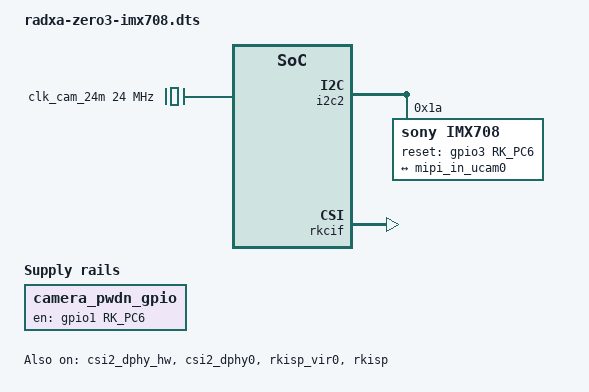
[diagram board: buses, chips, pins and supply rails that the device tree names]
/*
 * This file is licensed under the terms of GPLv3.
 * Made by Arducam and OpenHD
 */

/dts-v1/;
/plugin/;

#include <dt-bindings/power/rk3568-power.h>
#include <dt-bindings/gpio/gpio.h>
#include <dt-bindings/pinctrl/rockchip.h>

/ {
	metadata {
		title = "Enable Arducam IMX708 on Zero3W";
		compatible = "radxa,zero3";
		category = "camera";
		exclusive = "csi2_dphy0";
		description = "Enable  Arducam Camera IMX708 on CAM0.";
	};


	fragment@0 {
		target-path = "/";

		__overlay__ {
			camera_pwdn_gpio: camera-pwdn-gpio {
				compatible = "regulator-fixed";
				regulator-name = "camera_pwdn_gpio";
				regulator-always-on;
				regulator-boot-on;
				enable-active-high;
				gpio = <&gpio1 RK_PC6 GPIO_ACTIVE_HIGH>;
				pinctrl-names = "default";
				pinctrl-0 = <&cam_pwdn_gpio>;
			};
			
			clk_cam_24m: external-camera-clock-24m {
				status = "okay";
				compatible = "fixed-clock";
				clock-frequency = <24000000>;
				clock-output-names = "clk_cam_24m";
				#clock-cells = <0>;
			};


		};
	};

	fragment@1 {
		target = <&i2c2>;

		__overlay__ {
			status = "okay";
			pinctrl-names = "default";
			pinctrl-0 = <&i2c2m1_xfer>;

			#address-cells = <1>;
			#size-cells = <0>;

			imx708: imx708@1a {
				status = "okay";
				compatible = "sony,imx708";
				reg = <0x1a>;

				clocks = <&clk_cam_24m>;
				clock-names = "xclk";
				reset-gpios = <&gpio3 RK_PC6 GPIO_ACTIVE_HIGH>;
				rockchip,camera-module-index = <0>;
				rockchip,camera-module-facing = "back";
				rockchip,camera-module-name = "arducam-imx708";
				rockchip,camera-module-lens-name = "default";

				port {
					imx708_out0: endpoint {
						remote-endpoint = <&mipi_in_ucam0>;
						data-lanes = <1 2>;
						link-frequencies = /bits/ 64 <450000000>;
					};
				};
			};
		};
	};

	fragment@2 {
		target = <&csi2_dphy_hw>;

		__overlay__ {
			status = "okay";
		};
	};

	fragment@3 {
		target = <&csi2_dphy0>;

		__overlay__ {
			status = "okay";

			ports {
				#address-cells = <1>;
				#size-cells = <0>;

				port@0 {
					reg = <0>;
					#address-cells = <1>;
					#size-cells = <0>;

					mipi_in_ucam0: endpoint@1 {
						reg = <1>;
						remote-endpoint = <&imx708_out0>;
						data-lanes = <1 2>;
					};
				};

				port@1 {
					reg = <1>;
					#address-cells = <1>;
					#size-cells = <0>;

					dphy0_out: endpoint@1 {
						reg = <1>;
						remote-endpoint = <&isp0_in>;
					};
				};
			};
		};
	};

	fragment@4 {
		target = <&rkisp_vir0>;

		__overlay__ {
			status = "okay";

			port {
				#address-cells = <1>;
				#size-cells = <0>;

				isp0_in: endpoint@0 {
					reg = <0>;
					remote-endpoint = <&dphy0_out>;
				};
			};
		};
	};

	fragment@5 {
		target = <&rkisp>;

		__overlay__ {
			status = "okay";
		};
	};

	fragment@6 {
		target = <&rkisp_mmu>;

		__overlay__ {
			status = "okay";
		};
	};

	fragment@7 {
		target = <&rkcif_mmu>;

		__overlay__ {
			status = "okay";
		};
	};

	fragment@8 {
		target = <&rkcif>;

		__overlay__ {
			status = "okay";
		};
	};


	fragment@9 {
		target = <&pinctrl>;

		__overlay__ {
			status = "okay";
			camera {
				cam_pwdn_gpio: cam-pwdn-gpio {
					rockchip,pins = <3 RK_PC6 RK_FUNC_GPIO &pcfg_pull_up>;
				};
			};
		};
	};
};
